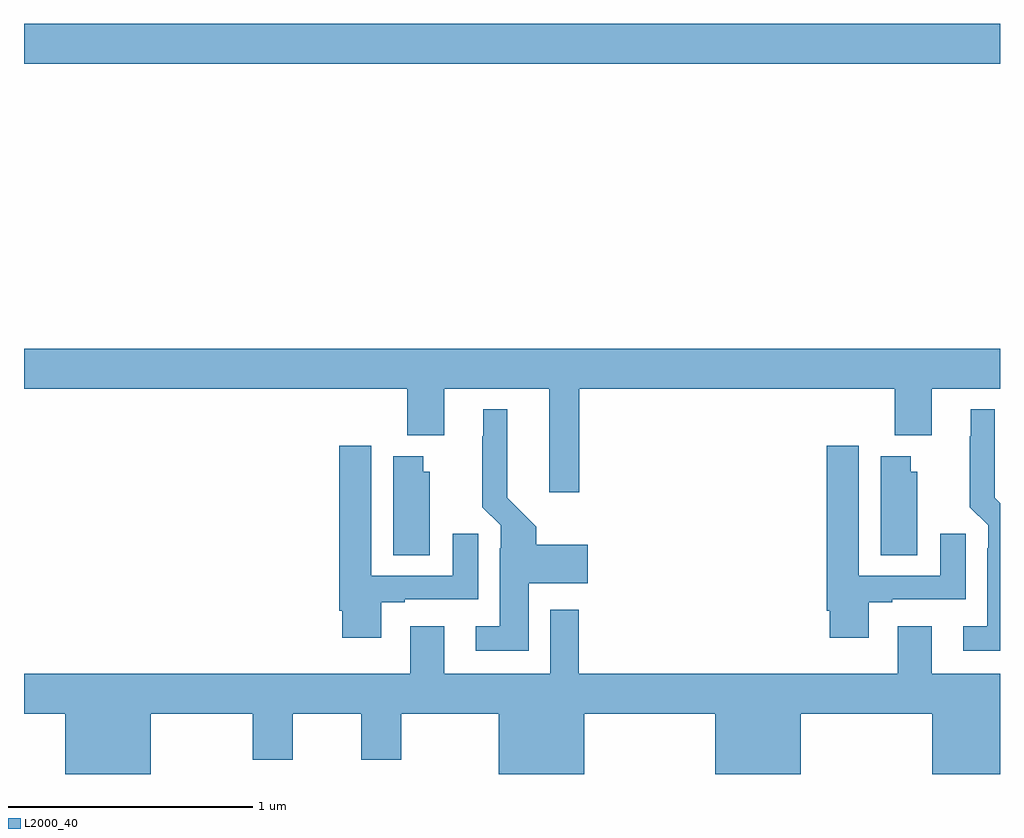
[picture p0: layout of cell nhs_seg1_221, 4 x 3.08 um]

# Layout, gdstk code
import gdstk
lib = gdstk.Library(unit=1e-6, precision=1e-09)
def R(c, l, rs):  # rectangles x0, y0, x1, y1
    for r in rs: c.add(gdstk.rectangle(r[:2], r[2:], *l))
def P(c, l, *ps):  # polygons
    for p in ps: c.add(gdstk.Polygon(p, *l))
L2000_40 = (2000, 40)

nhs_seg1_221 = lib.new_cell('nhs_seg1_221')
R(nhs_seg1_221, L2000_40, [(123,505.112,127,505.276)])
P(nhs_seg1_221, L2000_40, [(125.276,503.78),(126.569,503.78),(126.569,503.588),(126.721,503.588),(126.721,503.78),(127,503.78),(127,503.944),(123,503.944),(123,503.78),(124.571,503.78),(124.571,503.588),(124.723,503.588),(124.723,503.78),(125.153,503.78),(125.153,503.355),(125.276,503.355)],
  [(127,503.311),(126.979,503.332),(126.979,503.695),(126.881,503.695),(126.881,503.585),(126.877,503.585),(126.877,503.294),(126.951,503.22),(126.951,503.126),(126.947,503.126),(126.947,502.807),(126.849,502.807),(126.849,502.706),(127,502.706)],
  [(125.068,502.982),(125.311,502.982),(125.311,503.14),(125.099,503.14),(125.099,503.214),(124.981,503.332),(124.981,503.695),(124.883,503.695),(124.883,503.585),(124.879,503.585),(124.879,503.294),(124.953,503.22),(124.953,503.126),(124.949,503.126),(124.949,502.807),(124.851,502.807),(124.851,502.706),(125.068,502.706)],
  [(124.465,502.905),(124.561,502.905),(124.561,502.917),(124.861,502.917),(124.861,503.185),(124.757,503.185),(124.757,503.013),(124.423,503.013),(124.423,503.545),(124.292,503.545),(124.292,502.87),(124.304,502.87),(124.304,502.758),(124.465,502.758)],
  [(126.463,502.905),(126.559,502.905),(126.559,502.917),(126.859,502.917),(126.859,503.185),(126.755,503.185),(126.755,503.013),(126.421,503.013),(126.421,503.545),(126.29,503.545),(126.29,502.87),(126.302,502.87),(126.302,502.758),(126.463,502.758)],
  [(124.663,503.439),(124.636,503.439),(124.636,503.503),(124.514,503.503),(124.514,503.098),(124.663,503.098)],
  [(126.661,503.439),(126.634,503.439),(126.634,503.503),(126.512,503.503),(126.512,503.098),(126.661,503.098)],
  [(123.52,502.448),(123.938,502.448),(123.938,502.26),(124.102,502.26),(124.102,502.448),(124.382,502.448),(124.382,502.26),(124.546,502.26),(124.546,502.448),(124.946,502.448),(124.946,502.199),(125.296,502.199),(125.296,502.448),(125.834,502.448),(125.834,502.199),(126.184,502.199),(126.184,502.448),(126.722,502.448),(126.722,502.199),(127,502.199),(127,502.612),(126.721,502.612),(126.721,502.807),(126.581,502.807),(126.581,502.612),(125.273,502.612),(125.273,502.873),(125.157,502.873),(125.157,502.612),(124.723,502.612),(124.723,502.807),(124.583,502.807),(124.583,502.612),(123,502.612),(123,502.448),(123.17,502.448),(123.17,502.199),(123.52,502.199)])

lib.write_gds('nhs_seg1_221.gds')
